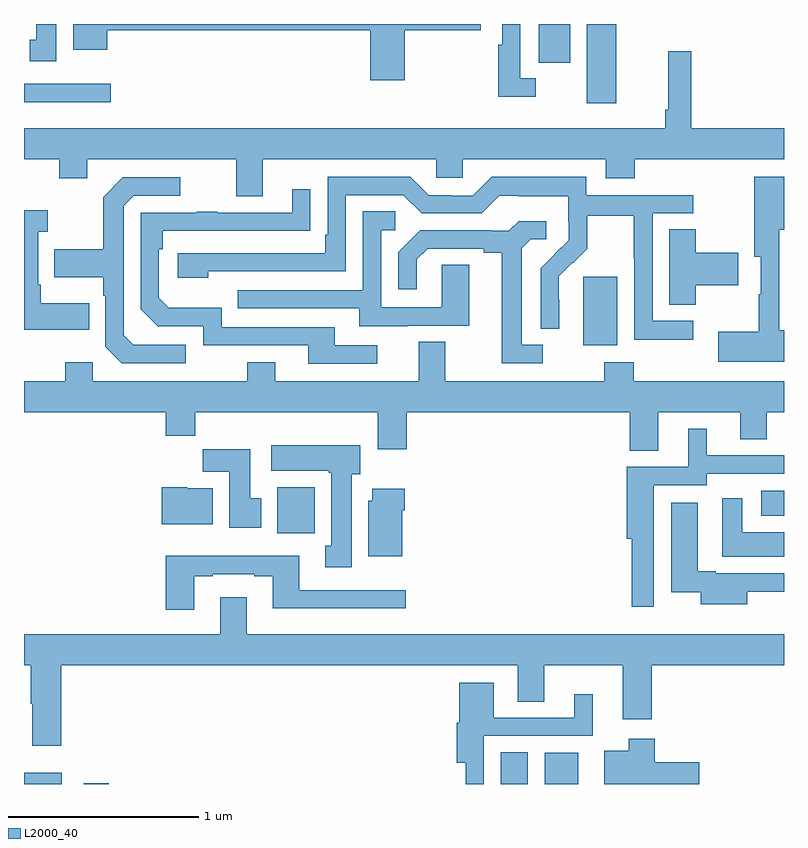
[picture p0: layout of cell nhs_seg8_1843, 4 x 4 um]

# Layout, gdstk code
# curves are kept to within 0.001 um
import gdstk
lib = gdstk.Library(unit=1e-6, precision=1e-09)
def R(c, l, rs):  # rectangles x0, y0, x1, y1
    for r in rs: c.add(gdstk.rectangle(r[:2], r[2:], *l))
def P(c, l, *ps):  # polygons
    for p in ps: c.add(gdstk.Polygon(p, *l))
L2000_40 = (2000, 40)

nhs_seg8_1843 = lib.new_cell('nhs_seg8_1843')
R(nhs_seg8_1843, L2000_40, [(229,1091.9,229.198,1091.959), (229.314,1091.9,229.447,1091.903), (231.509,1091.9,231.652,1092.068), (231.74,1091.9,231.916,1092.064), (230.333,1093.22,230.53,1093.462), (232.881,1093.313,233,1093.444), (231.944,1094.21,232.123,1094.571), (231.962,1095.483,232.117,1095.9), (229,1095.488,229.456,1095.585), (231.71,1095.696,231.874,1095.9)])
P(nhs_seg8_1843, L2000_40, [(231.694,1095.615),(231.612,1095.615),(231.612,1095.9),(231.516,1095.9),(231.516,1095.791),(231.496,1095.791),(231.496,1095.518),(231.694,1095.518)],
  [(231.005,1095.868),(231.405,1095.868),(231.405,1095.9),(229.259,1095.9),(229.259,1095.764),(229.438,1095.764),(229.438,1095.868),(230.822,1095.868),(230.822,1095.603),(231.005,1095.603)],
  [(229.171,1095.9),(229.064,1095.9),(229.064,1095.818),(229.031,1095.818),(229.031,1095.705),(229.171,1095.705)],
  [(230.257,1095.188),(231.171,1095.188),(231.171,1095.09),(231.309,1095.09),(231.309,1095.188),(232.061,1095.188),(232.061,1095.089),(232.214,1095.089),(232.214,1095.188),(233,1095.188),(233,1095.352),(232.511,1095.352),(232.511,1095.757),(232.39,1095.757),(232.39,1095.448),(232.375,1095.448),(232.375,1095.352),(229,1095.352),(229,1095.188),(229.186,1095.188),(229.186,1095.089),(229.333,1095.089),(229.333,1095.188),(230.117,1095.188),(230.117,1094.994),(230.257,1094.994)],
  [(233,1094.289),(232.974,1094.289),(232.974,1094.817),(233,1094.817),(233,1095.097),(232.844,1095.097),(232.844,1094.675),(232.878,1094.675),(232.878,1094.478),(232.866,1094.478),(232.866,1094.281),(232.653,1094.281),(232.653,1094.123),(233,1094.123)],
  [(232.522,1094.337),(232.308,1094.337),(232.308,1094.904),(232.522,1094.904),(232.522,1095),(231.96,1095),(231.96,1095.097),(231.463,1095.097),(231.363,1094.997),(231.248,1094.997),(231.248,1095),(231.129,1095),(231.033,1095.096),(230.598,1095.096),(230.598,1094.791),(230.585,1094.791),(230.585,1094.694),(229.809,1094.694),(229.809,1094.564),(229.97,1094.564),(229.97,1094.598),(230.694,1094.598),(230.694,1095),(230.997,1095),(231.093,1094.904),(231.408,1094.904),(231.501,1094.997),(231.601,1094.997),(231.601,1094.993),(231.864,1094.993),(231.864,1094.859),(231.866,1094.859),(231.866,1094.762),(231.72,1094.614),(231.72,1094.296),(231.816,1094.296),(231.815,1094.573),(231.885,1094.643),(231.888,1094.64),(231.965,1094.717),(231.965,1094.892),(232.21,1094.892),(232.21,1094.668),(232.212,1094.668),(232.212,1094.239),(232.522,1094.239)],
  [(229.852,1094.211),(229.575,1094.211),(229.524,1094.262),(229.524,1094.943),(229.578,1094.997),(229.822,1094.997),(229.822,1095.093),(229.521,1095.093),(229.416,1094.987),(229.416,1094.715),(229.159,1094.715),(229.159,1094.567),(229.416,1094.567),(229.416,1094.471),(229.428,1094.471),(229.428,1094.202),(229.515,1094.115),(229.852,1094.115)],
  [(230.86,1094.208),(230.635,1094.208),(230.635,1094.304),(230.04,1094.304),(230.04,1094.407),(229.763,1094.407),(229.71,1094.46),(229.71,1094.714),(229.73,1094.714),(229.73,1094.811),(230.507,1094.812),(230.507,1095.031),(230.411,1095.031),(230.411,1094.907),(230.021,1094.907),(230.021,1094.912),(229.909,1094.912),(229.909,1094.907),(229.614,1094.907),(229.614,1094.4),(229.704,1094.31),(229.944,1094.31),(229.944,1094.208),(230.495,1094.208),(230.495,1094.112),(230.86,1094.112)],
  [(229.343,1094.431),(229.087,1094.431),(229.087,1094.527),(229.074,1094.527),(229.074,1094.807),(229.126,1094.807),(229.126,1094.92),(229,1094.92),(229,1094.291),(229.343,1094.291)],
  [(231.019,1094.313),(231.343,1094.313),(231.343,1094.633),(231.198,1094.633),(231.198,1094.409),(230.88,1094.409),(230.88,1094.814),(230.953,1094.814),(230.953,1094.915),(230.784,1094.915),(230.784,1094.499),(230.125,1094.499),(230.125,1094.403),(230.765,1094.403),(230.765,1094.309),(231.019,1094.309)],
  [(231.73,1094.211),(231.619,1094.211),(231.619,1094.719),(231.666,1094.766),(231.748,1094.766),(231.748,1094.863),(231.604,1094.863),(231.552,1094.811),(231.458,1094.811),(231.458,1094.814),(231.086,1094.814),(230.97,1094.698),(230.97,1094.505),(231.067,1094.505),(231.067,1094.661),(231.124,1094.718),(231.419,1094.718),(231.419,1094.696),(231.515,1094.696),(231.515,1094.115),(231.73,1094.115)],
  [(232.536,1094.525),(232.759,1094.525),(232.759,1094.696),(232.536,1094.696),(232.536,1094.819),(232.397,1094.819),(232.397,1094.422),(232.536,1094.422)],
  [(232.339,1093.856),(232.769,1093.856),(232.769,1093.714),(232.909,1093.714),(232.909,1093.856),(233,1093.856),(233,1094.02),(232.209,1094.02),(232.209,1094.119),(232.054,1094.119),(232.054,1094.02),(231.217,1094.02),(231.217,1094.228),(231.077,1094.228),(231.077,1094.02),(230.323,1094.02),(230.323,1094.119),(230.176,1094.119),(230.176,1094.02),(229.362,1094.02),(229.362,1094.119),(229.216,1094.119),(229.216,1094.02),(229,1094.02),(229,1093.856),(229.745,1093.856),(229.745,1093.732),(229.901,1093.732),(229.901,1093.856),(230.861,1093.856),(230.861,1093.662),(231.014,1093.662),(231.014,1093.856),(232.187,1093.856),(232.187,1093.654),(232.339,1093.654)],
  [(232.314,1093.473),(232.593,1093.473),(232.593,1093.533),(233,1093.533),(233,1093.629),(232.594,1093.629),(232.594,1093.771),(232.496,1093.771),(232.496,1093.569),(232.172,1093.569),(232.172,1093.19),(232.198,1093.19),(232.198,1092.834),(232.314,1092.834)],
  [(230.725,1093.53),(230.77,1093.53),(230.77,1093.684),(230.301,1093.684),(230.301,1093.55),(230.605,1093.55),(230.605,1093.537),(230.618,1093.537),(230.618,1093.154),(230.585,1093.154),(230.585,1093.041),(230.725,1093.041)],
  [(230.248,1093.404),(230.191,1093.404),(230.191,1093.663),(229.942,1093.663),(229.942,1093.544),(230.081,1093.544),(230.081,1093.248),(230.248,1093.248)],
  [(229.993,1093.456),(229.86,1093.456),(229.86,1093.462),(229.724,1093.462),(229.724,1093.268),(229.993,1093.268)],
  [(230.992,1093.34),(231.005,1093.34),(231.005,1093.453),(230.834,1093.453),(230.834,1093.392),(230.813,1093.392),(230.813,1093.1),(230.992,1093.1)],
  [(233,1093.225),(232.78,1093.225),(232.78,1093.405),(232.676,1093.405),(232.676,1093.097),(233,1093.097)],
  [(232.807,1092.912),(233,1092.912),(233,1093.008),(232.642,1093.008),(232.642,1093.021),(232.546,1093.021),(232.546,1093.381),(232.406,1093.381),(232.406,1092.91),(232.562,1092.91),(232.562,1092.845),(232.807,1092.845)],
  [(229.897,1092.993),(229.993,1092.993),(229.993,1093.005),(230.213,1093.005),(230.213,1092.993),(230.309,1092.993),(230.309,1092.824),(231.01,1092.824),(231.01,1092.921),(230.449,1092.921),(230.449,1093.102),(229.745,1093.102),(229.745,1092.816),(229.897,1092.816)],
  [(229.196,1092.524),(231.599,1092.524),(231.599,1092.334),(231.739,1092.334),(231.739,1092.524),(232.151,1092.524),(232.151,1092.24),(232.304,1092.24),(232.304,1092.524),(233,1092.524),(233,1092.688),(230.173,1092.688),(230.173,1092.883),(230.033,1092.883),(230.033,1092.688),(229,1092.688),(229,1092.524),(229.036,1092.524),(229.036,1092.322),(229.043,1092.322),(229.043,1092.102),(229.196,1092.102)],
  [(231.42,1092.153),(231.994,1092.153),(231.994,1092.373),(231.896,1092.373),(231.896,1092.249),(231.472,1092.249),(231.472,1092.433),(231.29,1092.433),(231.29,1092.222),(231.278,1092.222),(231.278,1092.011),(231.324,1092.011),(231.324,1091.9),(231.42,1091.9)],
  [(232.555,1092.014),(232.319,1092.014),(232.319,1092.139),(232.184,1092.139),(232.184,1092.076),(232.055,1092.076),(232.055,1091.9),(232.555,1091.9)])

lib.write_gds('nhs_seg8_1843.gds')
